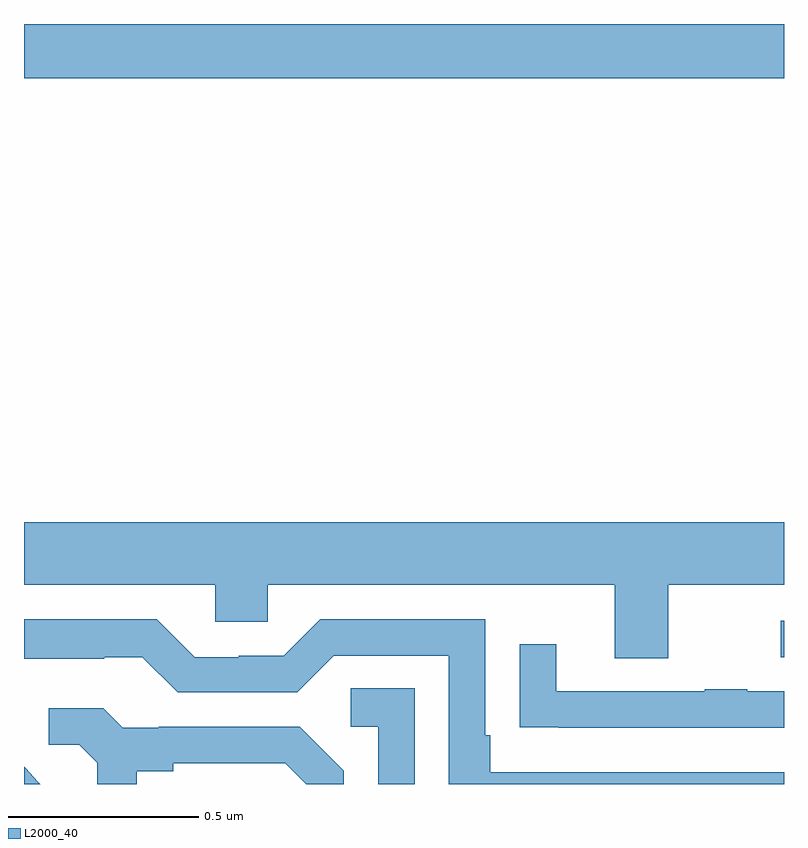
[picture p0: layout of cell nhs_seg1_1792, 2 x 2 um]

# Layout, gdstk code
import gdstk
lib = gdstk.Library(unit=1e-6, precision=1e-09)
def R(c, l, rs):  # rectangles x0, y0, x1, y1
    for r in rs: c.add(gdstk.rectangle(r[:2], r[2:], *l))
def P(c, l, *ps):  # polygons
    for p in ps: c.add(gdstk.Polygon(p, *l))
L2000_40 = (2000, 40)

nhs_seg1_1792 = lib.new_cell('nhs_seg1_1792')
R(nhs_seg1_1792, L2000_40, [(134.991,559.533,135,559.629), (133,561.056,135,561.199)])
P(nhs_seg1_1792, L2000_40, [(134.695,559.724),(135,559.724),(135,559.888),(133,559.888),(133,559.724),(133.503,559.724),(133.503,559.626),(133.641,559.626),(133.641,559.724),(134.555,559.724),(134.555,559.53),(134.695,559.53)],
  [(135,559.23),(134.227,559.23),(134.227,559.327),(134.214,559.327),(134.214,559.632),(133.779,559.632),(133.683,559.536),(133.565,559.536),(133.565,559.533),(133.449,559.533),(133.349,559.633),(133,559.633),(133,559.529),(133.211,559.529),(133.211,559.533),(133.311,559.533),(133.404,559.44),(133.719,559.44),(133.815,559.536),(134.118,559.536),(134.118,559.199),(135,559.199)],
  [(135,559.443),(134.903,559.443),(134.903,559.448),(134.791,559.448),(134.791,559.443),(134.401,559.443),(134.401,559.567),(134.305,559.567),(134.305,559.348),(134.407,559.348),(134.407,559.347),(135,559.347)],
  [(134.028,559.451),(133.86,559.451),(133.86,559.35),(133.932,559.35),(133.932,559.199),(134.028,559.199)],
  [(133.297,559.232),(133.393,559.232),(133.393,559.254),(133.688,559.254),(133.743,559.199),(133.842,559.199),(133.842,559.234),(133.726,559.35),(133.354,559.35),(133.354,559.347),(133.26,559.347),(133.208,559.399),(133.065,559.399),(133.065,559.302),(133.146,559.302),(133.193,559.255),(133.193,559.199),(133.297,559.199)],
  [(133.019,559.223),(133.02,559.224),(133,559.244),(133,559.199),(133.043,559.199)])

lib.write_gds('nhs_seg1_1792.gds')
